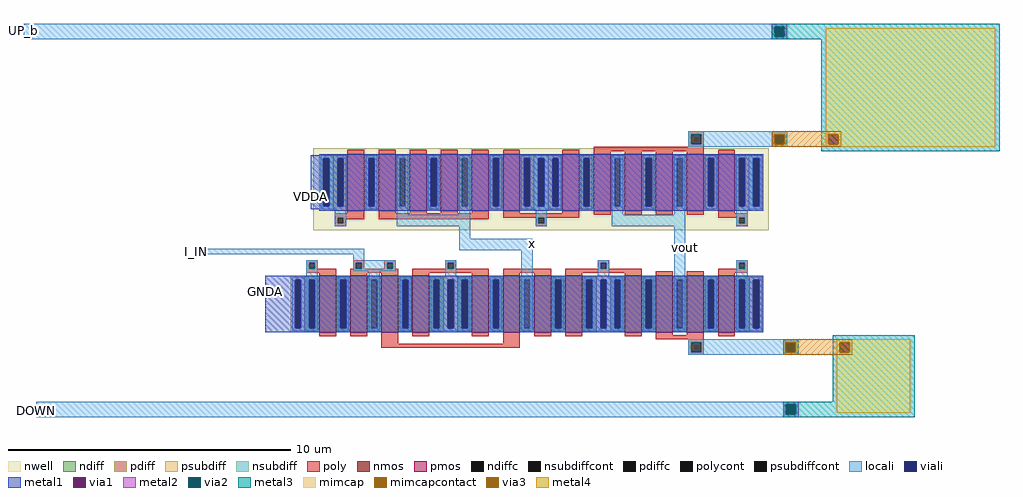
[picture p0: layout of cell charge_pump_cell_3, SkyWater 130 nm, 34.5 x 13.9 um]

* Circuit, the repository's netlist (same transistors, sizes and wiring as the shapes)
* NGSPICE file created from charge_pump_cell_3.ext - technology: sky130A

**.subckt charge_pump_cell_3
X0 VDDA VDDA VDDA VDDA sky130_fd_pr__pfet_01v8 ad=0.5 pd=2.5 as=10 ps=50 w=2 l=0.6
X1 VDDA VDDA VDDA VDDA sky130_fd_pr__pfet_01v8 ad=1 pd=5 as=0 ps=0 w=2 l=0.6
X2 VDDA a_18920_4410# x VDDA sky130_fd_pr__pfet_01v8 ad=0.5 pd=2.5 as=0.5 ps=2.5 w=2 l=0.6
X3 GNDA GNDA GNDA GNDA sky130_fd_pr__nfet_01v8 ad=0.5 pd=2.5 as=12 ps=60 w=2 l=0.6
X4 x a_18920_4410# VDDA VDDA sky130_fd_pr__pfet_01v8 ad=0.5 pd=2.5 as=0.5 ps=2.5 w=2 l=0.6
X5 vout a_20440_4440# VDDA VDDA sky130_fd_pr__pfet_01v8 ad=0.5 pd=2.5 as=0.5 ps=2.5 w=2 l=0.6
X6 VDDA a_20440_4440# vout VDDA sky130_fd_pr__pfet_01v8 ad=0.5 pd=2.5 as=0.5 ps=2.5 w=2 l=0.6
X7 x I_IN GNDA GNDA sky130_fd_pr__nfet_01v8 ad=0.5 pd=2.5 as=0.5 ps=2.5 w=2 l=0.6
X8 VDDA a_18920_4410# x VDDA sky130_fd_pr__pfet_01v8 ad=0.5 pd=2.5 as=0.5 ps=2.5 w=2 l=0.6
X9 VDDA a_20440_4440# vout VDDA sky130_fd_pr__pfet_01v8 ad=0.5 pd=2.5 as=0.5 ps=2.5 w=2 l=0.6
X10 GNDA GNDA GNDA GNDA sky130_fd_pr__nfet_01v8 ad=0.5 pd=2.5 as=0 ps=0 w=2 l=0.6
X11 vout a_20440_4440# VDDA VDDA sky130_fd_pr__pfet_01v8 ad=0.5 pd=2.5 as=0.5 ps=2.5 w=2 l=0.6
X12 GNDA I_IN x GNDA sky130_fd_pr__nfet_01v8 ad=0.5 pd=2.5 as=0.5 ps=2.5 w=2 l=0.6
X13 VDDA VDDA VDDA VDDA sky130_fd_pr__pfet_01v8 ad=1 pd=5 as=0 ps=0 w=2 l=0.6
X14 GNDA GNDA GNDA GNDA sky130_fd_pr__nfet_01v8 ad=1 pd=5 as=0 ps=0 w=2 l=0.6
X15 GNDA GNDA GNDA GNDA sky130_fd_pr__nfet_01v8 ad=0.5 pd=2.5 as=0 ps=0 w=2 l=0.6
X16 vout a_20880_3560# GNDA GNDA sky130_fd_pr__nfet_01v8 ad=0.5 pd=2.5 as=0.5 ps=2.5 w=2 l=0.6
X17 GNDA a_20880_3560# vout GNDA sky130_fd_pr__nfet_01v8 ad=0.5 pd=2.5 as=0.5 ps=2.5 w=2 l=0.6
X18 GNDA GNDA GNDA GNDA sky130_fd_pr__nfet_01v8 ad=1 pd=5 as=0 ps=0 w=2 l=0.6
X19 a_20880_3560# DOWN sky130_fd_pr__cap_mim_m3_1 l=2.6 w=2.6
X20 VDDA VDDA VDDA VDDA sky130_fd_pr__pfet_01v8 ad=0.5 pd=2.5 as=0 ps=0 w=2 l=0.6
X21 a_20440_4440# UP_b sky130_fd_pr__cap_mim_m3_1 l=4.2 w=6
X22 GNDA I_IN I_IN GNDA sky130_fd_pr__nfet_01v8 ad=0.5 pd=2.5 as=0.5 ps=2.5 w=2 l=0.6
X23 I_IN I_IN GNDA GNDA sky130_fd_pr__nfet_01v8 ad=0.5 pd=2.5 as=0.5 ps=2.5 w=2 l=0.6
X24 x a_18920_4410# VDDA VDDA sky130_fd_pr__pfet_01v8 ad=0.5 pd=2.5 as=0.5 ps=2.5 w=2 l=0.6
X25 GNDA GNDA GNDA GNDA sky130_fd_pr__nfet_01v8 ad=1 pd=5 as=0 ps=0 w=2 l=0.6
.ends

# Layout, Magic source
magic
tech sky130A
<< nwell >>
rect 9230 2165 10840 2455
<< nmos >>
rect 9250 1805 9310 2005
rect 9360 1805 9420 2005
rect 9470 1805 9530 2005
rect 9580 1805 9640 2005
rect 9790 1805 9850 2005
rect 9900 1805 9960 2005
rect 10010 1805 10070 2005
rect 10120 1805 10180 2005
rect 10330 1805 10390 2005
rect 10440 1805 10500 2005
rect 10550 1805 10610 2005
rect 10660 1805 10720 2005
<< pmos >>
rect 9350 2235 9410 2435
rect 9460 2235 9520 2435
rect 9570 2235 9630 2435
rect 9680 2235 9740 2435
rect 9790 2235 9850 2435
rect 9900 2235 9960 2435
rect 10110 2235 10170 2435
rect 10220 2235 10280 2435
rect 10330 2235 10390 2435
rect 10440 2235 10500 2435
rect 10550 2235 10610 2435
rect 10660 2235 10720 2435
<< ndiff >>
rect 9200 1990 9250 2005
rect 9200 1820 9215 1990
rect 9235 1820 9250 1990
rect 9200 1805 9250 1820
rect 9310 1990 9360 2005
rect 9310 1820 9325 1990
rect 9345 1820 9360 1990
rect 9310 1805 9360 1820
rect 9420 1990 9470 2005
rect 9420 1820 9435 1990
rect 9455 1820 9470 1990
rect 9420 1805 9470 1820
rect 9530 1990 9580 2005
rect 9530 1820 9545 1990
rect 9565 1820 9580 1990
rect 9530 1805 9580 1820
rect 9640 1990 9690 2005
rect 9740 1990 9790 2005
rect 9640 1820 9655 1990
rect 9675 1820 9690 1990
rect 9740 1820 9755 1990
rect 9775 1820 9790 1990
rect 9640 1805 9690 1820
rect 9740 1805 9790 1820
rect 9850 1990 9900 2005
rect 9850 1820 9865 1990
rect 9885 1820 9900 1990
rect 9850 1805 9900 1820
rect 9960 1990 10010 2005
rect 9960 1820 9975 1990
rect 9995 1820 10010 1990
rect 9960 1805 10010 1820
rect 10070 1990 10120 2005
rect 10070 1820 10085 1990
rect 10105 1820 10120 1990
rect 10070 1805 10120 1820
rect 10180 1990 10230 2005
rect 10280 1990 10330 2005
rect 10180 1820 10195 1990
rect 10215 1820 10230 1990
rect 10280 1820 10295 1990
rect 10315 1820 10330 1990
rect 10180 1805 10230 1820
rect 10280 1805 10330 1820
rect 10390 1990 10440 2005
rect 10390 1820 10405 1990
rect 10425 1820 10440 1990
rect 10390 1805 10440 1820
rect 10500 1990 10550 2005
rect 10500 1820 10515 1990
rect 10535 1820 10550 1990
rect 10500 1805 10550 1820
rect 10610 1990 10660 2005
rect 10610 1820 10625 1990
rect 10645 1820 10660 1990
rect 10610 1805 10660 1820
rect 10720 1990 10770 2005
rect 10720 1820 10735 1990
rect 10755 1820 10770 1990
rect 10720 1805 10770 1820
<< pdiff >>
rect 9300 2420 9350 2435
rect 9300 2250 9315 2420
rect 9335 2250 9350 2420
rect 9300 2235 9350 2250
rect 9410 2420 9460 2435
rect 9410 2250 9425 2420
rect 9445 2250 9460 2420
rect 9410 2235 9460 2250
rect 9520 2420 9570 2435
rect 9520 2250 9535 2420
rect 9555 2250 9570 2420
rect 9520 2235 9570 2250
rect 9630 2420 9680 2435
rect 9630 2250 9645 2420
rect 9665 2250 9680 2420
rect 9630 2235 9680 2250
rect 9740 2420 9790 2435
rect 9740 2250 9755 2420
rect 9775 2250 9790 2420
rect 9740 2235 9790 2250
rect 9850 2420 9900 2435
rect 9850 2250 9865 2420
rect 9885 2250 9900 2420
rect 9850 2235 9900 2250
rect 9960 2420 10010 2435
rect 10060 2420 10110 2435
rect 9960 2250 9975 2420
rect 9995 2250 10010 2420
rect 10060 2250 10075 2420
rect 10095 2250 10110 2420
rect 9960 2235 10010 2250
rect 10060 2235 10110 2250
rect 10170 2420 10220 2435
rect 10170 2250 10185 2420
rect 10205 2250 10220 2420
rect 10170 2235 10220 2250
rect 10280 2420 10330 2435
rect 10280 2250 10295 2420
rect 10315 2250 10330 2420
rect 10280 2235 10330 2250
rect 10390 2420 10440 2435
rect 10390 2250 10405 2420
rect 10425 2250 10440 2420
rect 10390 2235 10440 2250
rect 10500 2420 10550 2435
rect 10500 2250 10515 2420
rect 10535 2250 10550 2420
rect 10500 2235 10550 2250
rect 10610 2420 10660 2435
rect 10610 2250 10625 2420
rect 10645 2250 10660 2420
rect 10610 2235 10660 2250
rect 10720 2420 10770 2435
rect 10720 2250 10735 2420
rect 10755 2250 10770 2420
rect 10720 2235 10770 2250
<< ndiffc >>
rect 9215 1820 9235 1990
rect 9325 1820 9345 1990
rect 9435 1820 9455 1990
rect 9545 1820 9565 1990
rect 9655 1820 9675 1990
rect 9755 1820 9775 1990
rect 9865 1820 9885 1990
rect 9975 1820 9995 1990
rect 10085 1820 10105 1990
rect 10195 1820 10215 1990
rect 10295 1820 10315 1990
rect 10405 1820 10425 1990
rect 10515 1820 10535 1990
rect 10625 1820 10645 1990
rect 10735 1820 10755 1990
<< pdiffc >>
rect 9315 2250 9335 2420
rect 9425 2250 9445 2420
rect 9535 2250 9555 2420
rect 9645 2250 9665 2420
rect 9755 2250 9775 2420
rect 9865 2250 9885 2420
rect 9975 2250 9995 2420
rect 10075 2250 10095 2420
rect 10185 2250 10205 2420
rect 10295 2250 10315 2420
rect 10405 2250 10425 2420
rect 10515 2250 10535 2420
rect 10625 2250 10645 2420
rect 10735 2250 10755 2420
<< psubdiff >>
rect 9150 1990 9200 2005
rect 9150 1820 9165 1990
rect 9185 1820 9200 1990
rect 9150 1805 9200 1820
rect 9690 1990 9740 2005
rect 9690 1820 9705 1990
rect 9725 1820 9740 1990
rect 9690 1805 9740 1820
rect 10230 1990 10280 2005
rect 10230 1820 10245 1990
rect 10265 1820 10280 1990
rect 10230 1805 10280 1820
rect 10770 1990 10820 2005
rect 10770 1820 10785 1990
rect 10805 1820 10820 1990
rect 10770 1805 10820 1820
<< nsubdiff >>
rect 9250 2420 9300 2435
rect 9250 2250 9265 2420
rect 9285 2250 9300 2420
rect 9250 2235 9300 2250
rect 10010 2420 10060 2435
rect 10010 2250 10025 2420
rect 10045 2250 10060 2420
rect 10010 2235 10060 2250
rect 10770 2420 10820 2435
rect 10770 2250 10785 2420
rect 10805 2250 10820 2420
rect 10770 2235 10820 2250
<< psubdiffcont >>
rect 9165 1820 9185 1990
rect 9705 1820 9725 1990
rect 10245 1820 10265 1990
rect 10785 1820 10805 1990
<< nsubdiffcont >>
rect 9265 2250 9285 2420
rect 10025 2250 10045 2420
rect 10785 2250 10805 2420
<< poly >>
rect 10555 2505 10610 2515
rect 10555 2470 10565 2505
rect 10600 2470 10610 2505
rect 10555 2460 10610 2470
rect 9350 2435 9410 2450
rect 9460 2435 9520 2450
rect 9570 2435 9630 2450
rect 9680 2435 9740 2450
rect 9790 2435 9850 2450
rect 9900 2435 9960 2450
rect 10110 2435 10170 2450
rect 10220 2445 10610 2460
rect 10220 2435 10280 2445
rect 10330 2435 10390 2445
rect 10440 2435 10500 2445
rect 10550 2435 10610 2445
rect 10660 2435 10720 2450
rect 9350 2225 9410 2235
rect 9305 2210 9410 2225
rect 9305 2190 9315 2210
rect 9335 2205 9410 2210
rect 9460 2225 9520 2235
rect 9570 2225 9630 2235
rect 9680 2225 9740 2235
rect 9790 2225 9850 2235
rect 9460 2205 9850 2225
rect 9900 2225 9960 2235
rect 10110 2225 10170 2235
rect 9900 2210 10170 2225
rect 10220 2220 10280 2235
rect 10330 2220 10390 2235
rect 10440 2220 10500 2235
rect 10550 2220 10610 2235
rect 10660 2225 10720 2235
rect 10660 2210 10765 2225
rect 9335 2190 9345 2205
rect 9305 2180 9345 2190
rect 10015 2190 10025 2210
rect 10045 2190 10055 2210
rect 10015 2180 10055 2190
rect 10725 2190 10735 2210
rect 10755 2190 10765 2210
rect 10725 2180 10765 2190
rect 9205 2050 9245 2060
rect 9205 2030 9215 2050
rect 9235 2030 9245 2050
rect 9370 2050 9410 2060
rect 9370 2030 9380 2050
rect 9400 2030 9410 2050
rect 9480 2050 9520 2060
rect 9480 2030 9490 2050
rect 9510 2030 9520 2050
rect 9695 2050 9735 2060
rect 9695 2030 9705 2050
rect 9725 2030 9735 2050
rect 10235 2050 10275 2060
rect 10235 2030 10245 2050
rect 10265 2030 10275 2050
rect 10725 2050 10765 2060
rect 10725 2030 10735 2050
rect 10755 2030 10765 2050
rect 9205 2015 9310 2030
rect 9250 2005 9310 2015
rect 9360 2015 9530 2030
rect 9360 2005 9420 2015
rect 9470 2005 9530 2015
rect 9580 2015 9850 2030
rect 9580 2005 9640 2015
rect 9790 2005 9850 2015
rect 9900 2015 10070 2030
rect 9900 2005 9960 2015
rect 10010 2005 10070 2015
rect 10120 2015 10390 2030
rect 10120 2005 10180 2015
rect 10330 2005 10390 2015
rect 10440 2005 10500 2020
rect 10550 2005 10610 2020
rect 10660 2015 10765 2030
rect 10660 2005 10720 2015
rect 9250 1790 9310 1805
rect 9360 1790 9420 1805
rect 9470 1765 9530 1805
rect 9580 1790 9640 1805
rect 9790 1790 9850 1805
rect 9900 1765 9960 1805
rect 10010 1790 10070 1805
rect 10120 1790 10180 1805
rect 10330 1790 10390 1805
rect 10440 1795 10500 1805
rect 10550 1795 10610 1805
rect 10440 1780 10610 1795
rect 10660 1790 10720 1805
rect 9470 1750 9960 1765
rect 10555 1770 10610 1780
rect 10555 1735 10565 1770
rect 10600 1735 10610 1770
rect 10555 1725 10610 1735
<< polycont >>
rect 10565 2470 10600 2505
rect 9315 2190 9335 2210
rect 10025 2190 10045 2210
rect 10735 2190 10755 2210
rect 9215 2030 9235 2050
rect 9380 2030 9400 2050
rect 9490 2030 9510 2050
rect 9705 2030 9725 2050
rect 10245 2030 10265 2050
rect 10735 2030 10755 2050
rect 10565 1735 10600 1770
<< locali >>
rect 8205 2885 10905 2895
rect 8205 2850 10860 2885
rect 10895 2850 10905 2885
rect 8205 2840 10905 2850
rect 10555 2505 10905 2515
rect 10555 2470 10565 2505
rect 10600 2470 10860 2505
rect 10895 2470 10905 2505
rect 10555 2460 10905 2470
rect 9255 2420 9345 2430
rect 9255 2250 9265 2420
rect 9285 2250 9315 2420
rect 9335 2250 9345 2420
rect 9255 2240 9345 2250
rect 9415 2420 9455 2430
rect 9415 2250 9425 2420
rect 9445 2250 9455 2420
rect 9415 2240 9455 2250
rect 9525 2420 9565 2430
rect 9525 2250 9535 2420
rect 9555 2250 9565 2420
rect 9305 2210 9345 2240
rect 9305 2190 9315 2210
rect 9335 2190 9345 2210
rect 9305 2180 9345 2190
rect 9525 2220 9565 2250
rect 9635 2420 9675 2430
rect 9635 2250 9645 2420
rect 9665 2250 9675 2420
rect 9635 2240 9675 2250
rect 9745 2420 9785 2430
rect 9745 2250 9755 2420
rect 9775 2250 9785 2420
rect 9745 2220 9785 2250
rect 9855 2420 9895 2430
rect 9855 2250 9865 2420
rect 9885 2250 9895 2420
rect 9855 2240 9895 2250
rect 9965 2420 10105 2430
rect 9965 2250 9975 2420
rect 9995 2250 10025 2420
rect 10045 2250 10075 2420
rect 10095 2250 10105 2420
rect 9965 2240 10105 2250
rect 10175 2420 10215 2430
rect 10175 2250 10185 2420
rect 10205 2250 10215 2420
rect 10175 2240 10215 2250
rect 10285 2420 10325 2430
rect 10285 2250 10295 2420
rect 10315 2250 10325 2420
rect 9525 2180 9785 2220
rect 10015 2210 10055 2240
rect 10015 2190 10025 2210
rect 10045 2190 10055 2210
rect 10015 2180 10055 2190
rect 10285 2220 10325 2250
rect 10395 2420 10435 2430
rect 10395 2250 10405 2420
rect 10425 2250 10435 2420
rect 10395 2240 10435 2250
rect 10505 2420 10545 2430
rect 10505 2250 10515 2420
rect 10535 2250 10545 2420
rect 10505 2220 10545 2250
rect 10615 2420 10655 2430
rect 10615 2250 10625 2420
rect 10645 2250 10655 2420
rect 10615 2240 10655 2250
rect 10725 2420 10815 2430
rect 10725 2250 10735 2420
rect 10755 2250 10785 2420
rect 10805 2250 10815 2420
rect 10725 2240 10815 2250
rect 10285 2180 10545 2220
rect 10725 2210 10765 2240
rect 10725 2190 10735 2210
rect 10755 2190 10765 2210
rect 10725 2180 10765 2190
rect 9745 2135 9785 2180
rect 8815 2080 9410 2100
rect 9745 2095 10005 2135
rect 9370 2060 9410 2080
rect 9205 2050 9245 2060
rect 9205 2030 9215 2050
rect 9235 2030 9245 2050
rect 9205 2000 9245 2030
rect 9370 2050 9520 2060
rect 9370 2030 9380 2050
rect 9400 2030 9490 2050
rect 9510 2030 9520 2050
rect 9370 2020 9520 2030
rect 9695 2050 9735 2060
rect 9695 2030 9705 2050
rect 9725 2030 9735 2050
rect 9155 1990 9245 2000
rect 9155 1820 9165 1990
rect 9185 1820 9215 1990
rect 9235 1820 9245 1990
rect 9155 1810 9245 1820
rect 9315 1990 9355 2000
rect 9315 1820 9325 1990
rect 9345 1820 9355 1990
rect 9315 1810 9355 1820
rect 9425 1990 9465 2020
rect 9695 2000 9735 2030
rect 9425 1820 9435 1990
rect 9455 1820 9465 1990
rect 9425 1810 9465 1820
rect 9535 1990 9575 2000
rect 9535 1820 9545 1990
rect 9565 1820 9575 1990
rect 9535 1810 9575 1820
rect 9645 1990 9785 2000
rect 9645 1820 9655 1990
rect 9675 1820 9705 1990
rect 9725 1820 9755 1990
rect 9775 1820 9785 1990
rect 9645 1810 9785 1820
rect 9855 1990 9895 2000
rect 9855 1820 9865 1990
rect 9885 1820 9895 1990
rect 9855 1810 9895 1820
rect 9965 1990 10005 2095
rect 10235 2050 10275 2060
rect 10235 2030 10245 2050
rect 10265 2030 10275 2050
rect 10235 2000 10275 2030
rect 9965 1820 9975 1990
rect 9995 1820 10005 1990
rect 9965 1810 10005 1820
rect 10075 1990 10115 2000
rect 10075 1820 10085 1990
rect 10105 1820 10115 1990
rect 10075 1810 10115 1820
rect 10185 1990 10325 2000
rect 10185 1820 10195 1990
rect 10215 1820 10245 1990
rect 10265 1820 10295 1990
rect 10315 1820 10325 1990
rect 10185 1810 10325 1820
rect 10395 1990 10435 2000
rect 10395 1820 10405 1990
rect 10425 1820 10435 1990
rect 10395 1810 10435 1820
rect 10505 1990 10545 2180
rect 10725 2050 10765 2060
rect 10725 2030 10735 2050
rect 10755 2030 10765 2050
rect 10725 2000 10765 2030
rect 10505 1820 10515 1990
rect 10535 1820 10545 1990
rect 10505 1810 10545 1820
rect 10615 1990 10655 2000
rect 10615 1820 10625 1990
rect 10645 1820 10655 1990
rect 10615 1810 10655 1820
rect 10725 1990 10815 2000
rect 10725 1820 10735 1990
rect 10755 1820 10785 1990
rect 10805 1820 10815 1990
rect 10725 1810 10815 1820
rect 10555 1770 10945 1780
rect 10555 1735 10565 1770
rect 10600 1735 10900 1770
rect 10935 1735 10945 1770
rect 10555 1725 10945 1735
rect 8250 1550 10945 1560
rect 8250 1515 10900 1550
rect 10935 1515 10945 1550
rect 8250 1505 10945 1515
<< viali >>
rect 10860 2850 10895 2885
rect 10860 2470 10895 2505
rect 9265 2250 9285 2420
rect 9315 2250 9335 2420
rect 9425 2250 9445 2420
rect 9645 2250 9665 2420
rect 9865 2250 9885 2420
rect 9975 2250 9995 2420
rect 10025 2250 10045 2420
rect 10075 2250 10095 2420
rect 10185 2250 10205 2420
rect 10405 2250 10425 2420
rect 10625 2250 10645 2420
rect 10735 2250 10755 2420
rect 10785 2250 10805 2420
rect 9165 1820 9185 1990
rect 9215 1820 9235 1990
rect 9325 1820 9345 1990
rect 9545 1820 9565 1990
rect 9655 1820 9675 1990
rect 9705 1820 9725 1990
rect 9755 1820 9775 1990
rect 9865 1820 9885 1990
rect 10085 1820 10105 1990
rect 10195 1820 10215 1990
rect 10245 1820 10265 1990
rect 10295 1820 10315 1990
rect 10405 1820 10425 1990
rect 10625 1820 10645 1990
rect 10735 1820 10755 1990
rect 10785 1820 10805 1990
rect 10900 1735 10935 1770
rect 10900 1515 10935 1550
<< metal1 >>
rect 10850 2885 10905 2895
rect 10850 2850 10860 2885
rect 10895 2850 10905 2885
rect 10850 2840 10905 2850
rect 10850 2505 10905 2515
rect 10850 2470 10860 2505
rect 10895 2470 10905 2505
rect 10850 2460 10905 2470
rect 9250 2430 10820 2435
rect 9220 2420 10820 2430
rect 9220 2250 9265 2420
rect 9285 2250 9315 2420
rect 9335 2250 9425 2420
rect 9445 2250 9645 2420
rect 9665 2250 9865 2420
rect 9885 2250 9975 2420
rect 9995 2250 10025 2420
rect 10045 2250 10075 2420
rect 10095 2250 10185 2420
rect 10205 2250 10405 2420
rect 10425 2250 10625 2420
rect 10645 2250 10735 2420
rect 10755 2250 10785 2420
rect 10805 2250 10820 2420
rect 9220 2240 10820 2250
rect 9250 2235 10820 2240
rect 9060 1990 10820 2005
rect 9060 1820 9165 1990
rect 9185 1820 9215 1990
rect 9235 1820 9325 1990
rect 9345 1820 9545 1990
rect 9565 1820 9655 1990
rect 9675 1820 9705 1990
rect 9725 1820 9755 1990
rect 9775 1820 9865 1990
rect 9885 1820 10085 1990
rect 10105 1820 10195 1990
rect 10215 1820 10245 1990
rect 10265 1820 10295 1990
rect 10315 1820 10405 1990
rect 10425 1820 10625 1990
rect 10645 1820 10735 1990
rect 10755 1820 10785 1990
rect 10805 1820 10820 1990
rect 9060 1805 10820 1820
rect 10890 1770 10945 1780
rect 10890 1735 10900 1770
rect 10935 1735 10945 1770
rect 10890 1725 10945 1735
rect 10890 1550 10945 1560
rect 10890 1515 10900 1550
rect 10935 1515 10945 1550
rect 10890 1505 10945 1515
<< via1 >>
rect 10860 2850 10895 2885
rect 10860 2470 10895 2505
rect 10900 1735 10935 1770
rect 10900 1515 10935 1550
<< metal2 >>
rect 10850 2885 10905 2895
rect 10850 2850 10860 2885
rect 10895 2850 10905 2885
rect 10850 2840 10905 2850
rect 10850 2505 10905 2515
rect 10850 2470 10860 2505
rect 10895 2470 10905 2505
rect 10850 2460 10905 2470
rect 10890 1770 10945 1780
rect 10890 1735 10900 1770
rect 10935 1735 10945 1770
rect 10890 1725 10945 1735
rect 10890 1550 10945 1560
rect 10890 1515 10900 1550
rect 10935 1515 10945 1550
rect 10890 1505 10945 1515
<< via2 >>
rect 10860 2850 10895 2885
rect 10860 2470 10895 2505
rect 10900 1735 10935 1770
rect 10900 1515 10935 1550
<< metal3 >>
rect 10850 2885 11655 2895
rect 10850 2850 10860 2885
rect 10895 2850 11655 2885
rect 10850 2840 11655 2850
rect 10850 2505 10905 2515
rect 10850 2470 10860 2505
rect 10895 2470 10905 2505
rect 10850 2460 10905 2470
rect 11025 2445 11655 2840
rect 10890 1770 10945 1780
rect 10890 1735 10900 1770
rect 10935 1735 10945 1770
rect 10890 1725 10945 1735
rect 11065 1560 11355 1795
rect 10890 1550 11355 1560
rect 10890 1515 10900 1550
rect 10935 1515 11355 1550
rect 10890 1505 11355 1515
<< via3 >>
rect 10860 2470 10895 2505
rect 10900 1735 10935 1770
<< mimcap >>
rect 11040 2505 11640 2880
rect 11040 2470 11050 2505
rect 11085 2470 11640 2505
rect 11040 2460 11640 2470
rect 11080 1770 11340 1780
rect 11080 1735 11090 1770
rect 11125 1735 11340 1770
rect 11080 1520 11340 1735
<< mimcapcontact >>
rect 11050 2470 11085 2505
rect 11090 1735 11125 1770
<< metal4 >>
rect 10850 2505 11095 2515
rect 10850 2470 10860 2505
rect 10895 2470 11050 2505
rect 11085 2470 11095 2505
rect 10850 2460 11095 2470
rect 10890 1770 11135 1780
rect 10890 1735 10900 1770
rect 10935 1735 11090 1770
rect 11125 1735 11135 1770
rect 10890 1725 11135 1735
<< labels >>
flabel locali 8815 2090 8815 2090 7 FreeSans 400 0 -200 0 I_IN
flabel locali 10545 2105 10545 2105 3 FreeSans 400 0 160 0 vout
flabel metal1 9220 2285 9220 2285 7 FreeSans 400 0 -200 0 VDDA
flabel metal1 9060 1950 9060 1950 7 FreeSans 400 0 -200 0 GNDA
flabel locali 8250 1530 8250 1530 7 FreeSans 400 0 -200 0 DOWN
flabel locali 10005 2120 10005 2120 3 FreeSans 400 0 200 0 x
flabel locali 8205 2870 8205 2870 7 FreeSans 400 0 -200 0 UP_b
<< end >>
